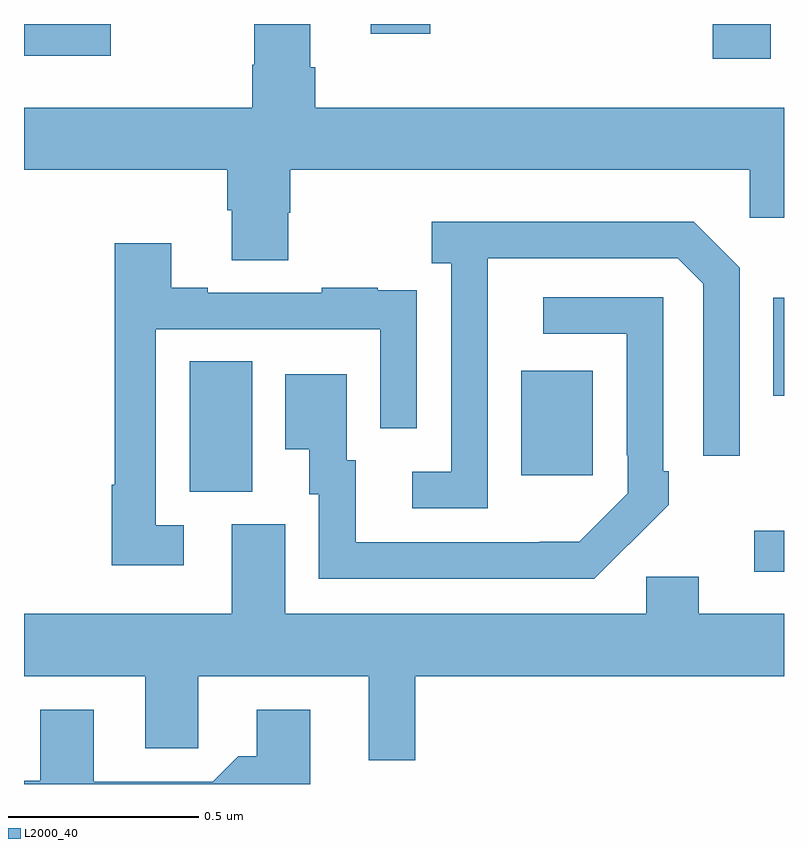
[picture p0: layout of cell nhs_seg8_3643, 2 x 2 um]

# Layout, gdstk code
import gdstk
lib = gdstk.Library(unit=1e-6, precision=1e-09)
def R(c, l, rs):  # rectangles x0, y0, x1, y1
    for r in rs: c.add(gdstk.rectangle(r[:2], r[2:], *l))
def P(c, l, *ps):  # polygons
    for p in ps: c.add(gdstk.Polygon(p, *l))
L2000_40 = (2000, 40)

nhs_seg8_3643 = lib.new_cell('nhs_seg8_3643')
R(nhs_seg8_3643, L2000_40, [(161.922,1099.458,162,1099.567), (160.436,1099.669,160.6,1100.012), (161.309,1099.713,161.497,1099.987), (161.972,1099.922,162,1100.179), (161.813,1100.808,161.965,1100.9), (160,1100.816,160.228,1100.9), (160.913,1100.874,161.069,1100.9)])
P(nhs_seg8_3643, L2000_40, [(160.753,1100.786),(160.753,1100.9),(160.606,1100.9),(160.606,1100.793),(160.601,1100.793),(160.601,1100.68),(160,1100.68),(160,1100.516),(160.535,1100.516),(160.535,1100.41),(160.547,1100.41),(160.547,1100.278),(160.695,1100.278),(160.695,1100.403),(160.7,1100.403),(160.7,1100.516),(161.91,1100.516),(161.91,1100.39),(162,1100.39),(162,1100.68),(160.766,1100.68),(160.766,1100.786)],
  [(161.22,1100.083),(161.221,1100.083),(161.221,1100.283),(161.721,1100.283),(161.787,1100.217),(161.787,1099.764),(161.883,1099.764),(161.883,1100.259),(161.762,1100.38),(161.073,1100.38),(161.073,1100.27),(161.124,1100.27),(161.124,1099.722),(161.022,1099.722),(161.022,1099.626),(161.22,1099.626)],
  [(160.42,1099.581),(160.347,1099.581),(160.347,1100.097),(160.938,1100.097),(160.938,1099.836),(161.034,1099.836),(161.034,1100.09),(161.033,1100.09),(161.033,1100.199),(160.931,1100.199),(160.931,1100.206),(160.783,1100.206),(160.783,1100.193),(160.483,1100.193),(160.483,1100.206),(160.387,1100.206),(160.387,1100.323),(160.239,1100.323),(160.239,1099.688),(160.231,1099.688),(160.231,1099.476),(160.42,1099.476)],
  [(161.591,1099.531),(161.592,1099.53),(161.697,1099.635),(161.697,1099.723),(161.682,1099.723),(161.682,1100.181),(161.367,1100.181),(161.367,1100.085),(161.586,1100.085),(161.586,1099.765),(161.589,1099.765),(161.589,1099.665),(161.461,1099.537),(161.357,1099.537),(161.357,1099.536),(160.873,1099.536),(160.873,1099.752),(160.849,1099.752),(160.849,1099.978),(160.688,1099.978),(160.688,1099.781),(160.751,1099.781),(160.751,1099.662),(160.776,1099.662),(160.776,1099.44),(161.5,1099.44)],
  [(161.029,1099.184),(162,1099.184),(162,1099.348),(161.776,1099.348),(161.776,1099.446),(161.637,1099.446),(161.637,1099.348),(160.687,1099.348),(160.687,1099.584),(160.547,1099.584),(160.547,1099.348),(160,1099.348),(160,1099.184),(160.319,1099.184),(160.319,1098.994),(160.458,1098.994),(160.458,1099.184),(160.907,1099.184),(160.907,1098.963),(161.029,1098.963)],
  [(160.753,1099.096),(160.613,1099.096),(160.613,1098.973),(160.564,1098.973),(160.497,1098.906),(160.183,1098.906),(160.183,1099.096),(160.043,1099.096),(160.043,1098.909),(160,1098.909),(160,1098.9),(160.753,1098.9)])

lib.write_gds('nhs_seg8_3643.gds')
